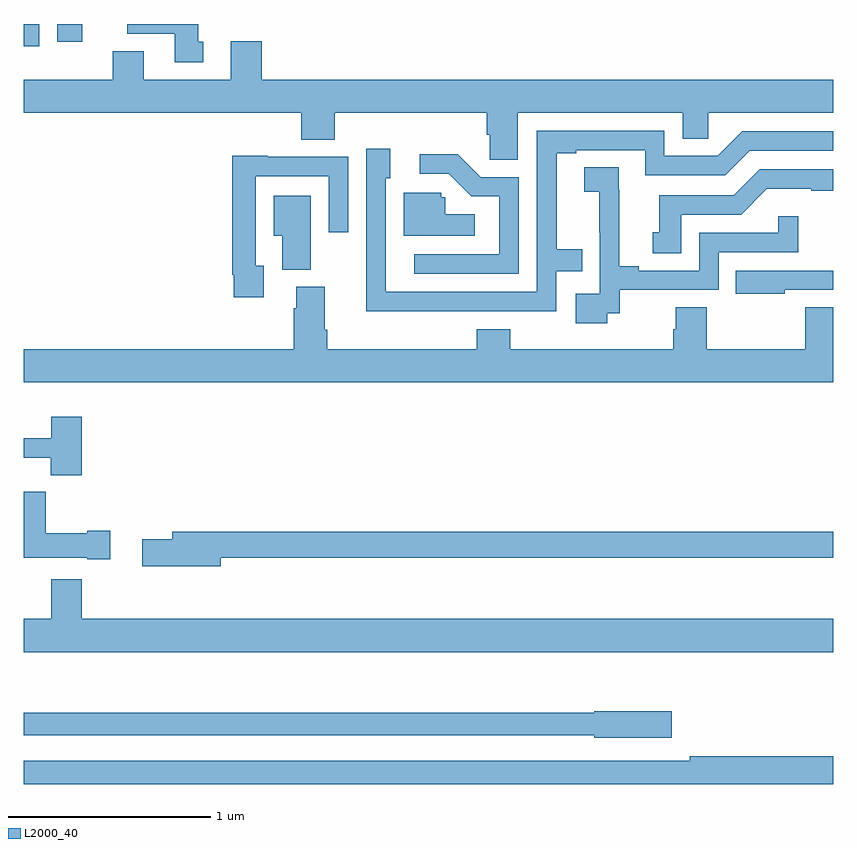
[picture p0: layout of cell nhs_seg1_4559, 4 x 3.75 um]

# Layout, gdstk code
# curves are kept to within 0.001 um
import gdstk
lib = gdstk.Library(unit=1e-6, precision=1e-09)
def R(c, l, rs):  # rectangles x0, y0, x1, y1
    for r in rs: c.add(gdstk.rectangle(r[:2], r[2:], *l))
def P(c, l, *ps):  # polygons
    for p in ps: c.add(gdstk.Polygon(p, *l))
L2000_40 = (2000, 40)

nhs_seg1_4559 = lib.new_cell('nhs_seg1_4559')
R(nhs_seg1_4559, L2000_40, [(359,524.088,359.077,524.199), (359.165,524.112,359.29,524.199), (359.951,524.198,360.178,524.199)])
P(nhs_seg1_4559, L2000_40, [(359.887,524.112),(359.863,524.112),(359.863,524.199),(359.512,524.199),(359.512,524.15),(359.747,524.15),(359.747,524.01),(359.887,524.01)],
  [(360.176,524.113),(360.023,524.113),(360.023,523.924),(359.593,523.924),(359.593,524.065),(359.441,524.065),(359.441,523.924),(359,523.924),(359,523.76),(360.371,523.76),(360.371,523.627),(360.536,523.627),(360.536,523.76),(361.289,523.76),(361.289,523.651),(361.302,523.651),(361.302,523.528),(361.441,523.528),(361.441,523.76),(362.255,523.76),(362.255,523.633),(362.382,523.633),(362.382,523.76),(363,523.76),(363,523.924),(360.176,523.924)],
  [(361.154,522.78),(361.632,522.78),(361.632,522.978),(361.76,522.978),(361.76,523.087),(361.633,523.087),(361.633,523.56),(361.729,523.56),(361.729,523.575),(362.07,523.575),(362.07,523.452),(362.466,523.452),(362.586,523.572),(363,523.572),(363,523.668),(362.55,523.668),(362.43,523.548),(362.166,523.548),(362.166,523.671),(361.536,523.671),(361.536,522.876),(360.789,522.876),(360.789,523.437),(360.811,523.437),(360.811,523.582),(360.693,523.582),(360.692,522.779)],
  [(361.446,523.443),(361.257,523.443),(361.144,523.556),(360.957,523.556),(360.957,523.458),(361.101,523.458),(361.212,523.347),(361.35,523.347),(361.35,523.062),(360.93,523.062),(360.93,522.966),(361.446,522.966)],
  [(360.187,523.005),(360.147,523.005),(360.147,523.446),(360.507,523.446),(360.507,523.17),(360.603,523.17),(360.603,523.542),(360.207,523.542),(360.207,523.549),(360.031,523.549),(360.031,522.961),(360.039,522.961),(360.039,522.849),(360.187,522.849)],
  [(361.884,522.771),(361.946,522.771),(361.946,522.885),(362.433,522.885),(362.433,523.071),(362.828,523.071),(362.828,523.249),(362.727,523.249),(362.727,523.167),(362.337,523.167),(362.337,522.981),(362.038,522.981),(362.038,523.001),(361.942,523.001),(361.942,523.379),(361.94,523.379),(361.94,523.49),(361.77,523.49),(361.77,523.369),(361.844,523.369),(361.844,523.171),(361.845,523.171),(361.845,522.867),(361.728,522.867),(361.728,522.72),(361.884,522.72)],
  [(362.248,523.257),(362.544,523.257),(362.672,523.385),(362.891,523.385),(362.891,523.374),(363,523.374),(363,523.482),(362.637,523.482),(362.508,523.353),(362.141,523.353),(362.141,523.17),(362.108,523.17),(362.108,523.066),(362.248,523.066)],
  [(361.228,523.258),(361.083,523.258),(361.083,523.344),(361.062,523.344),(361.062,523.365),(360.878,523.365),(360.878,523.154),(361.228,523.154)],
  [(360.418,523.351),(360.236,523.351),(360.236,523.154),(360.278,523.154),(360.278,522.985),(360.418,522.985)],
  [(362.761,522.885),(363,522.885),(363,522.981),(362.518,522.981),(362.518,522.866),(362.761,522.866)],
  [(363,522.8),(362.861,522.8),(362.861,522.592),(362.375,522.592),(362.375,522.8),(362.222,522.8),(362.222,522.69),(362.21,522.69),(362.21,522.592),(361.403,522.592),(361.403,522.691),(361.238,522.691),(361.238,522.592),(360.5,522.592),(360.5,522.688),(360.487,522.688),(360.487,522.9),(360.347,522.9),(360.347,522.794),(360.335,522.794),(360.335,522.592),(359,522.592),(359,522.428),(363,522.428)],
  [(359.288,522.259),(359.135,522.259),(359.135,522.153),(359,522.153),(359,522.056),(359.133,522.056),(359.133,521.969),(359.288,521.969)],
  [(359.428,521.696),(359.315,521.696),(359.315,521.683),(359.108,521.683),(359.108,521.887),(359,521.887),(359,521.594),(359.001,521.594),(359.001,521.561),(359.315,521.561),(359.315,521.554),(359.428,521.554)],
  [(359.974,521.562),(363,521.562),(363,521.69),(359.735,521.69),(359.735,521.654),(359.586,521.654),(359.586,521.519),(359.974,521.519)],
  [(363,521.26),(359.288,521.26),(359.288,521.455),(359.135,521.455),(359.135,521.26),(359,521.26),(359,521.096),(363,521.096)],
  [(362.203,520.803),(361.818,520.803),(361.818,520.795),(359,520.795),(359,520.686),(361.818,520.686),(361.818,520.673),(362.203,520.673)],
  [(363,520.58),(362.29,520.58),(362.29,520.56),(359,520.56),(359,520.444),(363,520.444)])

lib.write_gds('nhs_seg1_4559.gds')
